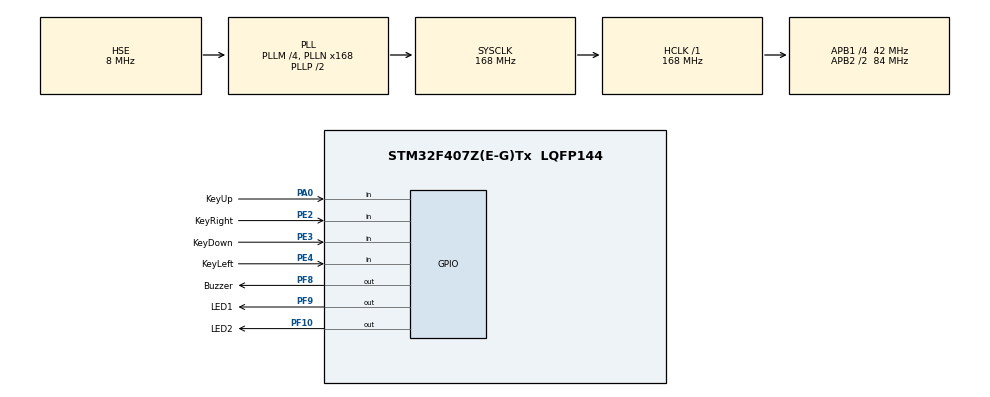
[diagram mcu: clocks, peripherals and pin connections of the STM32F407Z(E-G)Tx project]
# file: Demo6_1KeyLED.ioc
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Mcu.Family=STM32F4
Mcu.Name=STM32F407Z(E-G)Tx
Mcu.Package=LQFP144
NVIC.PriorityGroup=NVIC_PRIORITYGROUP_4
PA0-WKUP.GPIO_Label=KeyUp
PA0-WKUP.GPIO_PuPd=GPIO_PULLUP
PA0-WKUP.Signal=GPIO_Input
PA13.Mode=Serial_Wire
PA13.Signal=SYS_JTMS-SWDIO
PA14.Mode=Serial_Wire
PA14.Signal=SYS_JTCK-SWCLK
PE2.GPIO_Label=KeyRight
PE2.GPIO_PuPd=GPIO_PULLUP
PE2.Signal=GPIO_Input
PE3.GPIO_Label=KeyDown
PE3.GPIO_PuPd=GPIO_PULLUP
PE3.Signal=GPIO_Input
PE4.GPIO_Label=KeyLeft
PE4.GPIO_PuPd=GPIO_PULLUP
PE4.Signal=GPIO_Input
PF10.GPIO_Label=LED2
PF10.Signal=GPIO_Output
PF8.GPIO_Label=Buzzer
PF8.Signal=GPIO_Output
PF9.GPIO_Label=LED1
PF9.Signal=GPIO_Output
PH0-OSC_IN.Mode=HSE-External-Oscillator
PH0-OSC_IN.Signal=RCC_OSC_IN
PH1-OSC_OUT.Mode=HSE-External-Oscillator
PH1-OSC_OUT.Signal=RCC_OSC_OUT
ProjectManager.HeapSize=0x200
ProjectManager.StackSize=0x400
ProjectManager.TargetToolchain=STM32CubeIDE
RCC.48MHZClocksFreq_Value=84000000
RCC.AHBFreq_Value=168000000
RCC.APB1CLKDivider=RCC_HCLK_DIV4
RCC.APB1Freq_Value=42000000
RCC.APB1TimFreq_Value=84000000
RCC.APB2CLKDivider=RCC_HCLK_DIV2
RCC.APB2Freq_Value=84000000
RCC.APB2TimFreq_Value=168000000
RCC.CortexFreq_Value=168000000
RCC.HCLKFreq_Value=168000000
RCC.HSE_VALUE=8000000
RCC.HSI_VALUE=16000000
RCC.PLLM=4
RCC.PLLN=168
RCC.PLLSourceVirtual=RCC_PLLSOURCE_HSE
RCC.SYSCLKFreq_VALUE=168000000
RCC.SYSCLKSource=RCC_SYSCLKSOURCE_PLLCLK
RCC.VCOOutputFreq_Value=336000000
board=custom

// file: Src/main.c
/* USER CODE BEGIN Header */
/**
  ******************************************************************************
  * @file           : main.c
  * @brief          : Main program body
  ******************************************************************************
  * @attention
  *
  * Copyright (c) 2022 STMicroelectronics.
  * All rights reserved.
  *
  * This software is licensed under terms that can be found in the LICENSE file
  * in the root directory of this software component.
  * If no LICENSE file comes with this software, it is provided AS-IS.
  *
  ******************************************************************************
  */
/* USER CODE END Header */
#include "main.h"
#include "gpio.h"

/* USER CODE BEGIN Includes */
#include "Keyled.h"
/* USER CODE END Includes */

void SystemClock_Config(void);

int main(void)
{

  /* MCU Configuration--------------------------------------------------------*/

  /* Reset of all peripherals, Initializes the Flash interface and the Systick. */
  HAL_Init();

  /* Configure the system clock */
  SystemClock_Config();

  /* Initialize all configured peripherals */
  MX_GPIO_Init();

  /* Infinite loop */
  /* USER CODE BEGIN WHILE */
  while (1)
  {
	  KEYS  curKey=ScanPressedKey(KEY_WAIT_ALWAYS);

	  switch(curKey)
	  {
	  case KEY_LEFT:
		  LED1_Toggle();
		  break;

	  case KEY_RIGHT:
		  LED2_Toggle();
		  break;

	  case KEY_UP:
		  LED1_Toggle();
		  LED2_Toggle();
		  break;

	  case KEY_DOWN:
		  Buzzer_Toggle();
	  }

	  HAL_Delay(400);	//按键弹起阶段的延时，消除抖动影响
    /* USER CODE END WHILE */

  }
}

void SystemClock_Config(void)
{
  RCC_OscInitTypeDef RCC_OscInitStruct = {0};
  RCC_ClkInitTypeDef RCC_ClkInitStruct = {0};

  /** Configure the main internal regulator output voltage
  */
  __HAL_RCC_PWR_CLK_ENABLE();
  __HAL_PWR_VOLTAGESCALING_CONFIG(PWR_REGULATOR_VOLTAGE_SCALE1);

  /** Initializes the RCC Oscillators according to the specified parameters
  * in the RCC_OscInitTypeDef structure.
  */
  RCC_OscInitStruct.OscillatorType = RCC_OSCILLATORTYPE_HSE;
  RCC_OscInitStruct.HSEState = RCC_HSE_ON;
  RCC_OscInitStruct.PLL.PLLState = RCC_PLL_ON;
  RCC_OscInitStruct.PLL.PLLSource = RCC_PLLSOURCE_HSE;
  RCC_OscInitStruct.PLL.PLLM = 4;
  RCC_OscInitStruct.PLL.PLLN = 168;
  RCC_OscInitStruct.PLL.PLLP = RCC_PLLP_DIV2;
  RCC_OscInitStruct.PLL.PLLQ = 4;
  if (HAL_RCC_OscConfig(&RCC_OscInitStruct) != HAL_OK)
  {
    Error_Handler();
  }

  /** Initializes the CPU, AHB and APB buses clocks
  */
  RCC_ClkInitStruct.ClockType = RCC_CLOCKTYPE_HCLK|RCC_CLOCKTYPE_SYSCLK
                              |RCC_CLOCKTYPE_PCLK1|RCC_CLOCKTYPE_PCLK2;
  RCC_ClkInitStruct.SYSCLKSource = RCC_SYSCLKSOURCE_PLLCLK;
  RCC_ClkInitStruct.AHBCLKDivider = RCC_SYSCLK_DIV1;
  RCC_ClkInitStruct.APB1CLKDivider = RCC_HCLK_DIV4;
  RCC_ClkInitStruct.APB2CLKDivider = RCC_HCLK_DIV2;

  if (HAL_RCC_ClockConfig(&RCC_ClkInitStruct, FLASH_LATENCY_5) != HAL_OK)
  {
    Error_Handler();
  }
}

void Error_Handler(void)
{
  __disable_irq();
  while (1)
  {
  }
}
